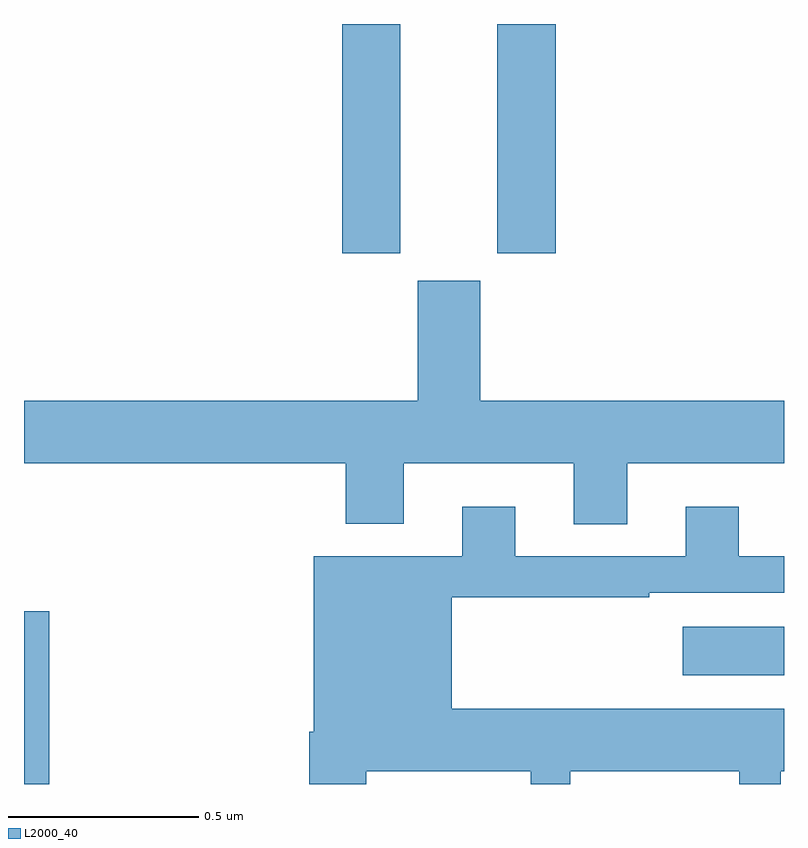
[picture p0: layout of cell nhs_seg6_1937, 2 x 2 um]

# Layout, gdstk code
import gdstk
lib = gdstk.Library(unit=1e-6, precision=1e-09)
def R(c, l, rs):  # rectangles x0, y0, x1, y1
    for r in rs: c.add(gdstk.rectangle(r[:2], r[2:], *l))
def P(c, l, *ps):  # polygons
    for p in ps: c.add(gdstk.Polygon(p, *l))
L2000_40 = (2000, 40)

nhs_seg6_1937 = lib.new_cell('nhs_seg6_1937')
R(nhs_seg6_1937, L2000_40, [(136,938.5,136.067,938.955), (137.733,938.786,138,938.914), (136.838,939.897,136.99,940.5), (137.246,939.897,137.399,940.5)])
P(nhs_seg6_1937, L2000_40, [(137.587,939.344),(138,939.344),(138,939.508),(137.2,939.508),(137.2,939.825),(137.036,939.825),(137.036,939.508),(136,939.508),(136,939.344),(136.847,939.344),(136.847,939.185),(136.999,939.185),(136.999,939.344),(137.447,939.344),(137.447,939.184),(137.587,939.184)],
  [(136.9,938.534),(137.333,938.534),(137.333,938.5),(137.437,938.5),(137.437,938.534),(137.882,938.534),(137.882,938.5),(137.992,938.5),(137.992,938.534),(138,938.534),(138,938.698),(137.125,938.698),(137.125,938.991),(137.645,938.991),(137.645,939.003),(138,939.003),(138,939.099),(137.881,939.099),(137.881,939.229),(137.741,939.229),(137.741,939.099),(137.293,939.099),(137.293,939.229),(137.153,939.229),(137.153,939.1),(136.763,939.1),(136.763,938.638),(136.751,938.638),(136.751,938.5),(136.9,938.5)])

lib.write_gds('nhs_seg6_1937.gds')
